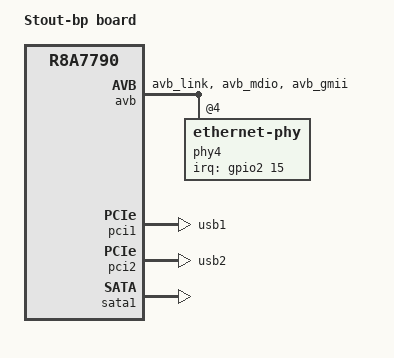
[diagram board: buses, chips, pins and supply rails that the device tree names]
// SPDX-License-Identifier: GPL-2.0
/*
 * Device Tree Source for the Stout board + Backplane expansion board
 *
 * Copyright (C) 2018 EPAM Systems Inc.
 */

#include "r8a7790-stout.dts"

/ {
	model = "Stout-bp board";
	compatible = "renesas,stout", "renesas,r8a7790";
};

&pfc {
	avb_pins: avb {
		groups = "avb_link", "avb_mdio", "avb_gmii";
		function = "avb";
	};

	usb1_pins: usb1 {
		groups = "usb1";
		function = "usb1";
	};

	usb2_pins: usb2 {
		groups = "usb2";
		function = "usb2";
	};
};

&avb {
	pinctrl-0 = <&avb_pins>;
	pinctrl-names = "default";

	phy-handle = <&phy4>;
	phy-mode = "gmii";
	renesas,no-ether-link;
	status = "okay";

	phy4: ethernet-phy@4 {
		/*
		 * The reason why we don't set "reg" property is that KSZ9031 PHY ID
		 * latch is not robust during power up on Backplane board and as
		 * the result we can't use single value which will cover all cases.
		 * For example, during power on PHY ID is latched as 4, but during
		 * reset - as 0.
		 * So, without this property being set, of_mdiobus_register()
		 * will perform auto scan and detect an appropriate value.
		 */
		/*reg = <4>;*/
		/*reg = <0>;*/
		interrupt-parent = <&gpio2>;
		interrupts = <15 IRQ_TYPE_LEVEL_LOW>;
		micrel,led-mode = <1>;

		/*
		 * Pad skew settings for KSZ9031 PHY installed on a Backplane board:
		 * We add only +0.6ns of delay on RX clock as KSZ9031 adds its
		 * +1.2ns by default.
		 * We add max delay on TX clock (+0.96ns) and min delay (-0.36ns)
		 * on TX data and control lines.
		 */
		txc-skew-ps = <1860>; /* +960ps */
		txd0-skew-ps = <0>; /* -420ps */
		txd1-skew-ps = <0>; /* -420ps */
		txd2-skew-ps = <0>; /* -420ps */
		txd3-skew-ps = <0>; /* -420ps */
		txen-skew-ps = <0>; /* -420ps */
		rxc-skew-ps = <1500>; /* +600ps */
		rxd0-skew-ps = <420>; /* 0ps */
		rxd1-skew-ps = <420>; /* 0ps */
		rxd2-skew-ps = <420>; /* 0ps */
		rxd3-skew-ps = <420>; /* 0ps */
		rxdv-skew-ps = <420>; /* 0ps */
	};
};

&pci1 {
	status = "okay";
	pinctrl-0 = <&usb1_pins>;
	pinctrl-names = "default";
};

&pci2 {
	status = "okay";
	pinctrl-0 = <&usb2_pins>;
	pinctrl-names = "default";
};

&sata1 {
	status = "okay";
};
